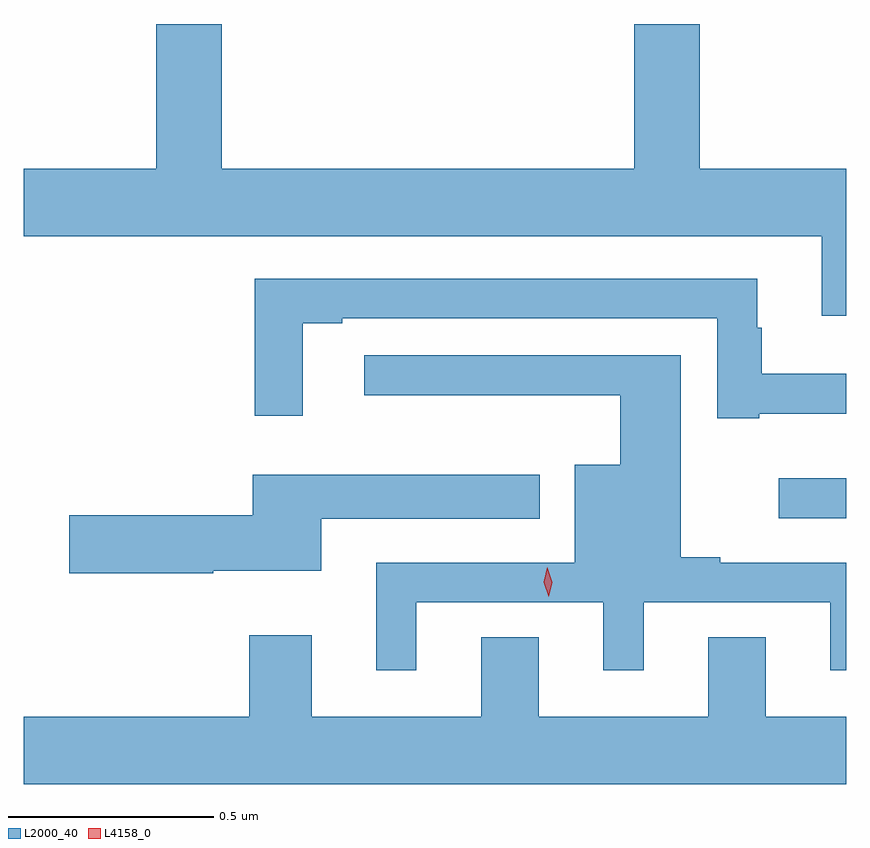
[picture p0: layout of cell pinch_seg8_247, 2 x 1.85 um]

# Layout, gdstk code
import gdstk
lib = gdstk.Library(unit=1e-6, precision=1e-09)
def R(c, l, rs):  # rectangles x0, y0, x1, y1
    for r in rs: c.add(gdstk.rectangle(r[:2], r[2:], *l))
def P(c, l, *ps):  # polygons
    for p in ps: c.add(gdstk.Polygon(p, *l))
L2000_40 = (2000, 40)
L4158_0 = (4158, 0)

pinch_seg8_247 = lib.new_cell('pinch_seg8_247')
R(pinch_seg8_247, L2000_40, [(817.077,1121.142,817.241,1121.239)])
P(pinch_seg8_247, L2000_40, [(817.241,1121.992),(816.885,1121.992),(816.885,1122.344),(816.725,1122.344),(816.725,1121.992),(815.723,1121.992),(815.723,1122.344),(815.563,1122.344),(815.563,1121.992),(815.241,1121.992),(815.241,1121.828),(817.181,1121.828),(817.181,1121.634),(817.241,1121.634)],
  [(817.03,1121.396),(817.241,1121.396),(817.241,1121.494),(817.036,1121.494),(817.036,1121.606),(817.024,1121.606),(817.024,1121.724),(815.803,1121.724),(815.803,1121.391),(815.92,1121.391),(815.92,1121.616),(816.016,1121.616),(816.016,1121.628),(816.927,1121.628),(816.927,1121.385),(817.03,1121.385)],
  [(816.196,1120.938),(816.65,1120.938),(816.65,1120.773),(816.748,1120.773),(816.748,1120.938),(817.202,1120.938),(817.202,1120.773),(817.241,1120.773),(817.241,1121.034),(816.934,1121.034),(816.934,1121.047),(816.838,1121.047),(816.838,1121.538),(816.069,1121.538),(816.069,1121.441),(816.692,1121.441),(816.692,1121.272),(816.581,1121.272),(816.581,1121.034),(816.098,1121.034),(816.098,1120.773),(816.196,1120.773)],
  [(815.702,1121.015),(815.965,1121.015),(815.965,1121.141),(816.496,1121.141),(816.496,1121.248),(815.798,1121.248),(815.798,1121.15),(815.352,1121.15),(815.352,1121.008),(815.702,1121.008)],
  [(817.241,1120.66),(817.045,1120.66),(817.045,1120.853),(816.905,1120.853),(816.905,1120.66),(816.493,1120.66),(816.493,1120.853),(816.353,1120.853),(816.353,1120.66),(815.941,1120.66),(815.941,1120.858),(815.789,1120.858),(815.789,1120.66),(815.241,1120.66),(815.241,1120.496),(817.241,1120.496)])
P(pinch_seg8_247, L4158_0, [(816.518,1120.951),(816.518,1120.951),(816.506,1120.986),(816.514,1121.023),(816.514,1121.023),(816.514,1121.023),(816.526,1120.987),(816.518,1120.951)])

lib.write_gds('pinch_seg8_247.gds')
